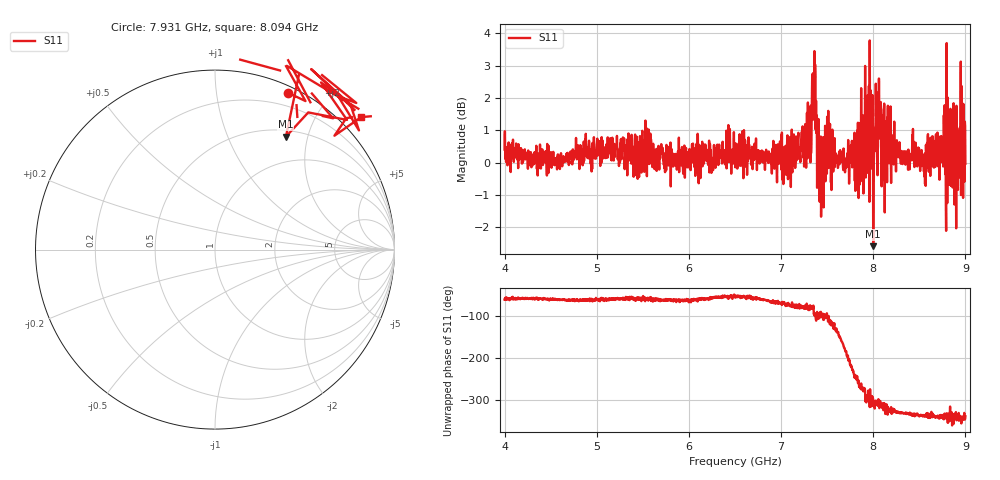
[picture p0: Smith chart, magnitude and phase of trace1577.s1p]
! Created with skrf 1.8.0 (http://scikit-rf.org).
# Hz S RI R 50.0
!freq ReS11 ImS11
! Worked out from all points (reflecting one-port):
!   1601 points, 4 GHz to 9 GHz, reference 50 ohm
!   lowest |S11| = -2.6 dB at 8 GHz (marker M1), VSWR 6.79, Z = 29.4 + j82.6 ohm
!   phase of S11 starts at -61 deg and turns -278 deg over the sweep
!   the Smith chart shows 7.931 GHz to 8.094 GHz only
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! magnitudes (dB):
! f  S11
! 4 GHz  0.4
! 4.625 GHz  -0.1
! 5.25 GHz  0.0
! 5.875 GHz  0.1
! 6.5 GHz  0.3
! 7.125 GHz  0.5
! 7.294 GHz  0.4
! 7.356 GHz  2.3
! 7.388 GHz  1.5
! 7.412 GHz  0.4
! 7.438 GHz  -0.7
! 7.512 GHz  1.6
! 7.566 GHz  -0.3
! 7.75 GHz  0.0
! 7.875 GHz  -0.4
! 7.962 GHz  3.8
! 8 GHz  -2.6
! 8.022 GHz  1.1
! 8.053 GHz  0.9
! 8.109 GHz  1.3
! 8.178 GHz  1.6
! 8.216 GHz  0.8
! 8.375 GHz  0.2
! 8.556 GHz  -0.4
! 8.819 GHz  -0.7
! 8.875 GHz  -0.1
! 8.972 GHz  0.7
! 9 GHz  0.0
